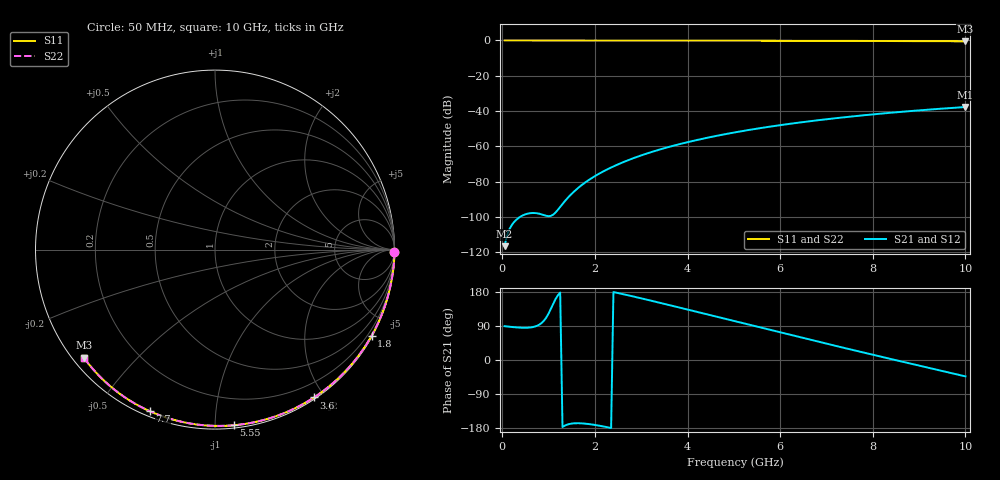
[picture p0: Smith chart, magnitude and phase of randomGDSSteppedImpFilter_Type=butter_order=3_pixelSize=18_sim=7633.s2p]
! freq	dB(S11)	phase(S11)	dB(S12)	phase(S12)
!  dB(S21)	phase(S21)	dB(S22)	phase(S22)
!S-par simulation data
#  GHz  S  DB  R 50
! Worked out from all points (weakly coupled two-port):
!   200 points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, 50 MHz to 10 GHz, reference 50 ohm
!   highest |S21| = -37.74 dB at 10 GHz (marker M1); lowest = -116.6 dB at 50 MHz (marker M2)
!   lowest |S11| = -0.5 dB at 10 GHz (marker M3), VSWR 36.49, Z = 1.55 - j17.9 ohm
!   |S11| at or under -10 dB: nowhere
!   |S22| runs from -0.5 to 0.0 dB; largest |S21 - S12| = 0
!   S11 on the Smith chart (normalised r, x): 50 MHz: open; 1.8 GHz: 0.03, -3.90; 3.6 GHz: 0.02, -1.87; 5.55 GHz: 0.02, -1.11; 7.7 GHz: 0.02, -0.67; 10 GHz: 0.03, -0.36
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0.05  -0.00 -0.8  -116.63 89.3  -116.63 89.3  -0.00 -0.8
0.45  -0.01 -7.3  -99.08 85.0  -99.08 85.0  -0.01 -7.3
0.9  -0.02 -14.5  -99.02 103.8  -99.02 103.8  -0.02 -14.5
1.75  -0.04 -28.0  -81.29 -167.5  -81.29 -167.5  -0.04 -28.0
1.8  -0.04 -28.8  -80.34 -168.1  -80.34 -168.1  -0.04 -28.8
1.85  -0.04 -29.6  -79.43 -168.8  -79.43 -168.8  -0.04 -29.6
2  -0.04 -31.9  -76.92 -171.4  -76.92 -171.4  -0.04 -31.9
2.15  -0.04 -34.2  -74.68 -174.6  -74.68 -174.6  -0.04 -34.2
2.35  -0.05 -37.3  -72.03 -179.4  -72.03 -179.4  -0.05 -37.3
2.55  -0.05 -40.4  -69.67 175.4  -69.67 175.4  -0.05 -40.4
2.95  -0.06 -46.5  -65.62 164.2  -65.62 164.2  -0.06 -46.5
3.4  -0.07 -53.2  -61.84 151.1  -61.84 151.1  -0.07 -53.2
3.6  -0.08 -56.2  -60.35 145.1  -60.35 145.1  -0.08 -56.2
4.3  -0.09 -66.4  -55.87 124.0  -55.87 124.0  -0.09 -66.4
5.05  -0.12 -77.0  -51.99 101.4  -51.99 101.4  -0.12 -77.0
5.55  -0.14 -83.8  -49.79 86.3  -49.79 86.3  -0.14 -83.8
6.1  -0.16 -91.2  -47.65 69.8  -47.65 69.8  -0.16 -91.2
6.7  -0.19 -99.1  -45.60 51.9  -45.60 51.9  -0.19 -99.1
7.7  -0.26 -111.9  -42.69 22.6  -42.69 22.6  -0.26 -111.9
8.35  -0.31 -120.1  -41.07 3.8  -41.07 3.8  -0.31 -120.1
9.2  -0.39 -130.6  -39.23 -20.5  -39.23 -20.5  -0.39 -130.6
10  -0.48 -140.5  -37.74 -43.2  -37.74 -43.2  -0.48 -140.5
